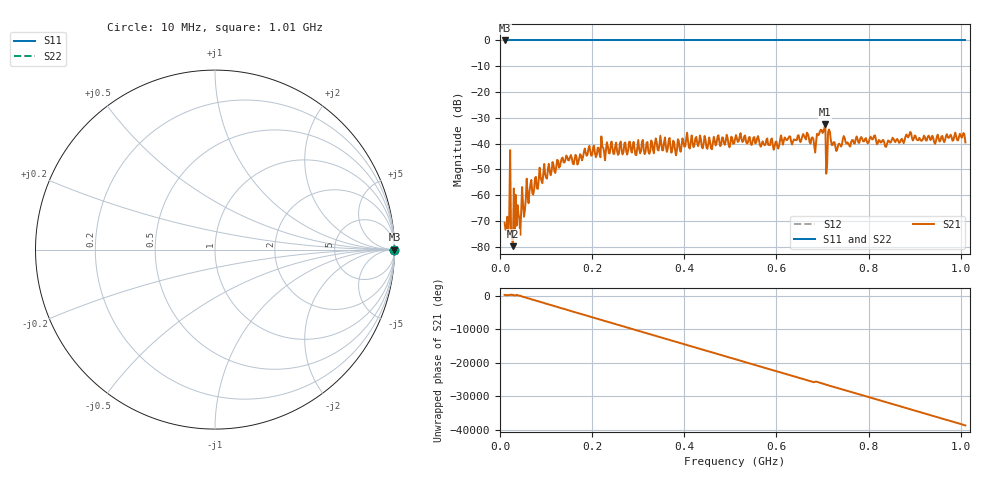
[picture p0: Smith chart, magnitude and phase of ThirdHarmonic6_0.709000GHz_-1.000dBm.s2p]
! 8/15/2025 11:42:21 PM
! C:\ANRITSUVNA\TEMP\TEMP.S2P
! CHANNEL.1
! TR.MEASUREMENT
! RAW.DATA
! RF.CORRECTION.OFF
! AVERAGING.OFF
! IF.BANDWIDTH: 5KHZ
! SWEEPTYPE:  FREQ.SWEEP(Linear)
! Reference Plane Port Info
! PORT:  PORT1  PORT2
! DISTANCE:  0  m  0  m
! TIME:  0  s  0  s
! PHASE.OFFSET:  0  deg.  0  deg.
! LOSS:  0  dB  0  dB
! REF.LOSS:  0  dB  0  dB
! REF.FREQ:  0  Hz  0  Hz
! Power Info
! POWER:  -20  dBm  -20  dBm
! EFF.POWER:  -20  dBm  -20  dBm
! SOURCE.ATTEN:  0  dB  0  dB
! TEST.ATTEN:  0  dB  0  dB
# GHZ S RI R 50.0
! FREQ.GHZ  S11RE  S11IM  S21RE  S21IM  S12RE  S12IM  S22RE  S22IM
!; PortSelection: Port_12
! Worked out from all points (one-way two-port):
!   501 points, 10 MHz to 1.01 GHz, reference 50 ohm
!   highest |S21| = -32.60 dB at 706 MHz (marker M1); lowest = -79.8 dB at 28 MHz (marker M2)
!   lowest |S11| = 0.0 dB at 10 MHz (marker M3)
!   |S11| at or under -10 dB: nowhere
!   |S22| runs from 0.0 to 0.0 dB; largest |S21 - S12| = 1
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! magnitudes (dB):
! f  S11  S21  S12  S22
! 10 MHz  0.0  -70.8  0.0  0.0
! 16 MHz  0.0  -68.4  0.0  0.0
! 18 MHz  0.0  -75.3  0.0  0.0
! 26 MHz  0.0  -76.3  0.0  0.0
! 28 MHz  0.0  -79.8  0.0  0.0
! 34 MHz  0.0  -59.9  0.0  0.0
! 40 MHz  0.0  -67.3  0.0  0.0
! 62 MHz  0.0  -63.1  0.0  0.0
! 90 MHz  0.0  -54.5  0.0  0.0
! 178 MHz  0.0  -46.5  0.0  0.0
! 344 MHz  0.0  -42.7  0.0  0.0
! 510 MHz  0.0  -38.3  0.0  0.0
! 678 MHz  0.0  -37.6  0.0  0.0
! 702 MHz  0.0  -35.3  0.0  0.0
! 706 MHz  0.0  -32.6  0.0  0.0
! 712 MHz  0.0  -35.6  0.0  0.0
! 716 MHz  0.0  -35.5  0.0  0.0
! 732 MHz  0.0  -42.2  0.0  0.0
! 748 MHz  0.0  -37.9  0.0  0.0
! 844 MHz  0.0  -39.0  0.0  0.0
! 888 MHz  0.0  -36.8  0.0  0.0
! 1.01 GHz  0.0  -39.6  0.0  0.0
